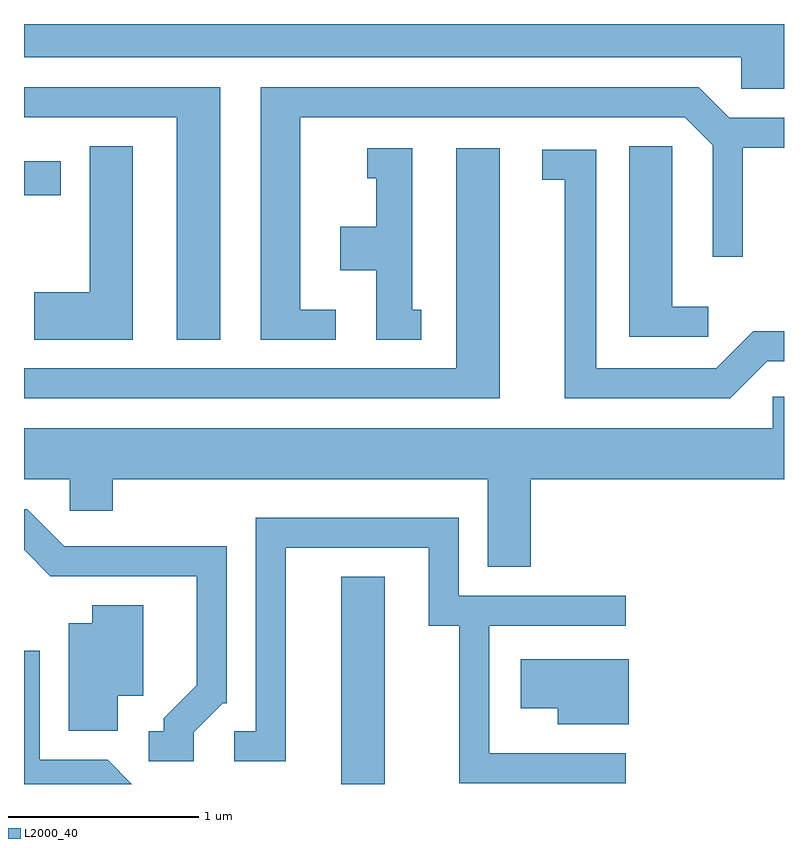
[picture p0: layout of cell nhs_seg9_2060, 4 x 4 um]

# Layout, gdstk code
import gdstk
lib = gdstk.Library(unit=1e-6, precision=1e-09)
def R(c, l, rs):  # rectangles x0, y0, x1, y1
    for r in rs: c.add(gdstk.rectangle(r[:2], r[2:], *l))
def P(c, l, *ps):  # polygons
    for p in ps: c.add(gdstk.Polygon(p, *l))
L2000_40 = (2000, 40)

nhs_seg9_2060 = lib.new_cell('nhs_seg9_2060')
R(nhs_seg9_2060, L2000_40, [(247.281,1992.432,247.509,1993.524), (245.611,1995.531,245.804,1995.709)])
P(nhs_seg9_2060, L2000_40, [(249.611,1996.432),(245.611,1996.432),(245.611,1996.256),(249.386,1996.256),(249.386,1996.091),(249.611,1996.091)],
  [(246.644,1996.099),(245.611,1996.099),(245.611,1995.941),(246.416,1995.941),(246.416,1994.771),(246.644,1994.771)],
  [(247.253,1994.929),(247.064,1994.929),(247.064,1995.941),(249.089,1995.941),(249.236,1995.794),(249.236,1995.208),(249.394,1995.208),(249.394,1995.781),(249.611,1995.781),(249.611,1995.939),(249.322,1995.939),(249.162,1996.099),(246.856,1996.099),(246.856,1994.771),(247.253,1994.771)],
  [(249.213,1994.944),(249.024,1994.944),(249.024,1995.789),(248.796,1995.789),(248.796,1994.786),(249.213,1994.786)],
  [(246.184,1995.789),(245.956,1995.789),(245.956,1995.019),(245.666,1995.019),(245.666,1994.771),(246.184,1994.771)],
  [(248.114,1995.779),(247.886,1995.779),(247.886,1994.619),(245.611,1994.619),(245.611,1994.461),(248.114,1994.461)],
  [(247.703,1994.929),(247.654,1994.929),(247.654,1995.779),(247.418,1995.779),(247.418,1995.621),(247.466,1995.621),(247.466,1995.364),(247.276,1995.364),(247.276,1995.136),(247.466,1995.136),(247.466,1994.771),(247.703,1994.771)],
  [(249.522,1994.656),(249.611,1994.656),(249.611,1994.814),(249.449,1994.814),(249.254,1994.619),(248.624,1994.619),(248.624,1995.769),(248.338,1995.769),(248.338,1995.611),(248.456,1995.611),(248.456,1994.461),(249.327,1994.461)],
  [(248.279,1994.036),(249.611,1994.036),(249.611,1994.469),(249.551,1994.469),(249.551,1994.304),(245.611,1994.304),(245.611,1994.036),(245.851,1994.036),(245.851,1993.871),(246.079,1993.871),(246.079,1994.036),(248.051,1994.036),(248.051,1993.576),(248.279,1993.576)],
  [(246.504,1992.704),(246.657,1992.856),(246.679,1992.856),(246.679,1993.684),(245.822,1993.684),(245.627,1993.879),(245.611,1993.879),(245.611,1993.664),(245.749,1993.526),(246.521,1993.526),(246.521,1992.952),(246.346,1992.777),(246.346,1992.709),(246.268,1992.709),(246.268,1992.551),(246.504,1992.551)],
  [(248.778,1992.594),(248.059,1992.594),(248.059,1993.266),(248.778,1993.266),(248.778,1993.424),(247.899,1993.424),(247.899,1993.834),(246.831,1993.834),(246.831,1992.709),(246.718,1992.709),(246.718,1992.551),(246.989,1992.551),(246.989,1993.676),(247.741,1993.676),(247.741,1993.266),(247.901,1993.266),(247.901,1992.436),(248.778,1992.436)],
  [(246.104,1992.896),(246.239,1992.896),(246.239,1993.374),(245.971,1993.374),(245.971,1993.279),(245.846,1993.279),(245.846,1992.711),(246.104,1992.711)],
  [(246.052,1992.559),(245.694,1992.559),(245.694,1993.133),(245.611,1993.133),(245.611,1992.432),(246.179,1992.432)],
  [(248.794,1993.089),(248.226,1993.089),(248.226,1992.831),(248.421,1992.831),(248.421,1992.746),(248.794,1992.746)])

lib.write_gds('nhs_seg9_2060.gds')
